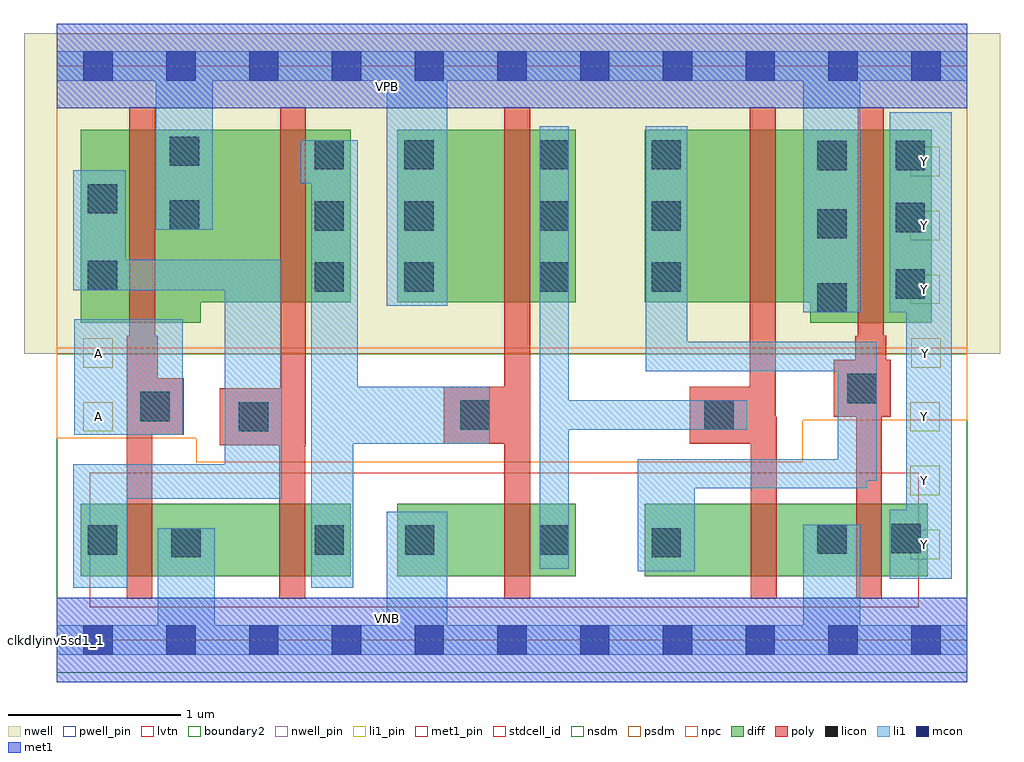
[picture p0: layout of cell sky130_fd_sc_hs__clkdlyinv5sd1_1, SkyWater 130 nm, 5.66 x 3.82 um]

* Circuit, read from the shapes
.subckt sky130_fd_sc_hs__clkdlyinv5sd1_1 A VGND VNB VPB VPWR Y
XM1 VGND A n1 VNB sky130_fd_pr__nfet_01v8_lvt w=0.42 l=0.15
XM2 n2 n1 VGND VNB sky130_fd_pr__nfet_01v8_lvt w=0.42 l=0.15
XM3 n3 n2 VGND VNB sky130_fd_pr__nfet_01v8_lvt w=0.42 l=0.15
XM4 VGND n3 n4 VNB sky130_fd_pr__nfet_01v8_lvt w=0.42 l=0.15
XM5 Y n4 VGND VNB sky130_fd_pr__nfet_01v8_lvt w=0.42 l=0.15
XM6 VPWR A n1 VPB sky130_fd_pr__pfet_01v8 w=1.12 l=0.15
XM7 n2 n1 VPWR VPB sky130_fd_pr__pfet_01v8 w=1 l=0.15
XM8 n3 n2 VPWR VPB sky130_fd_pr__pfet_01v8 w=1 l=0.15
XM9 VPWR n3 n4 VPB sky130_fd_pr__pfet_01v8 w=1 l=0.15
XM10 Y n4 VPWR VPB sky130_fd_pr__pfet_01v8 w=1.12 l=0.15
.ends

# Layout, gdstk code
import gdstk
lib = gdstk.Library(unit=1e-6, precision=1e-09)
def R(c, l, rs):  # rectangles x0, y0, x1, y1
    for r in rs: c.add(gdstk.rectangle(r[:2], r[2:], *l))
def A(c, l, x, y, w, h, nx, ny, dx, dy):  # array of equal rectangles
    R(c, l, [(x+i*dx, y+j*dy, x+i*dx+w, y+j*dy+h) for i in range(nx) for j in range(ny)])
def P(c, l, *ps):  # polygons
    for p in ps: c.add(gdstk.Polygon(p, *l))
nwell_pin = (64, 16)
nwell = (64, 20)
diff = (65, 20)
poly = (66, 20)
licon = (66, 44)
li1_pin = (67, 16)
li1 = (67, 20)
mcon = (67, 44)
met1_pin = (68, 16)
met1 = (68, 20)
stdcell_id = (81, 4)
nsdm = (93, 44)
psdm = (94, 20)
npc = (95, 20)
pwell_pin = (122, 16)
lvtn = (125, 44)
boundary2 = (236, 0)

sky130_fd_sc_hs__clkdlyi = lib.new_cell('sky130_fd_sc_hs__clkdlyinv5sd1_1')
R(sky130_fd_sc_hs__clkdlyi, nwell_pin, [(0,3.085,5.28,3.33)])
R(sky130_fd_sc_hs__clkdlyi, nwell, [(-0.19,1.66,5.47,3.52)])
R(sky130_fd_sc_hs__clkdlyi, diff, [(0.14,0.37,1.705,0.79), (1.975,0.37,3.01,0.79), (3.41,0.37,5.05,0.79), (1.975,1.96,3.01,2.96)])
P(sky130_fd_sc_hs__clkdlyi, diff, [(1.705,2.96),(0.14,2.96),(0.14,1.84),(0.835,1.84),(0.835,1.96),(1.705,1.96)],
  [(5.075,2.96),(3.41,2.96),(3.41,1.96),(4.37,1.96),(4.37,1.84),(5.075,1.84)])
P(sky130_fd_sc_hs__clkdlyi, poly, [(2.745,3.09),(2.595,3.09),(2.595,1.47),(2.245,1.47),(2.245,1.14),(2.595,1.14),(2.595,0.24),(2.745,0.24)],
  [(4.835,1.625),(4.81,1.625),(4.81,1.765),(4.795,1.765),(4.795,3.09),(4.645,3.09),(4.645,1.765),(4.63,1.765),(4.63,1.625),(4.505,1.625),(4.505,1.295),(4.635,1.295),(4.635,0.24),(4.785,0.24),(4.785,1.295),(4.835,1.295)],
  [(4.175,1.295),(4.17,1.295),(4.17,3.09),(4.02,3.09),(4.02,1.47),(3.67,1.47),(3.67,1.14),(4.025,1.14),(4.025,0.24),(4.175,0.24)],
  [(1.445,3.09),(1.295,3.09),(1.295,1.46),(0.945,1.46),(0.945,1.13),(1.29,1.13),(1.29,0.24),(1.44,0.24),(1.44,1.13),(1.445,1.13)],
  [(0.735,1.52),(0.585,1.52),(0.585,1.765),(0.57,1.765),(0.57,3.09),(0.42,3.09),(0.42,1.765),(0.405,1.765),(0.405,0.24),(0.555,0.24),(0.555,1.19),(0.735,1.19)])
A(sky130_fd_sc_hs__clkdlyi, licon, 1.495, 2.02, 0.17, 0.17, 1, 3, 0, 0.355)
A(sky130_fd_sc_hs__clkdlyi, licon, 2.015, 2.02, 0.17, 0.17, 1, 3, 0, 0.355)
A(sky130_fd_sc_hs__clkdlyi, licon, 2.8, 2.02, 0.17, 0.17, 1, 3, 0, 0.355)
A(sky130_fd_sc_hs__clkdlyi, licon, 3.45, 2.02, 0.17, 0.17, 1, 3, 0, 0.355)
R(sky130_fd_sc_hs__clkdlyi, licon, [(0.665,0.48,0.835,0.65), (3.45,0.48,3.62,0.65), (0.18,0.495,0.35,0.665), (1.495,0.495,1.665,0.665), (2.02,0.495,2.19,0.665), (2.8,0.495,2.97,0.665), (4.41,0.5,4.58,0.67), (4.84,0.505,5.01,0.675), (1.055,1.21,1.225,1.38), (2.34,1.22,2.51,1.39), (3.755,1.22,3.925,1.39), (0.485,1.27,0.655,1.44), (4.585,1.375,4.755,1.545), (4.41,1.9,4.58,2.07), (4.865,1.98,5.035,2.15), (0.18,2.03,0.35,2.2), (4.41,2.33,4.58,2.5), (4.865,2.365,5.035,2.535), (0.655,2.38,0.825,2.55), (0.18,2.475,0.35,2.645), (4.41,2.725,4.58,2.895), (4.865,2.725,5.035,2.895), (0.655,2.75,0.825,2.92)])
A(sky130_fd_sc_hs__clkdlyi, li1_pin, 4.95, 0.47, 0.17, 0.17, 1, 3, 0, 0.37)
A(sky130_fd_sc_hs__clkdlyi, li1_pin, 4.95, 1.95, 0.17, 0.17, 1, 3, 0, 0.37)
R(sky130_fd_sc_hs__clkdlyi, li1_pin, [(0.155,1.21,0.325,1.38), (0.155,1.58,0.325,1.75), (4.955,1.58,5.125,1.75)])
R(sky130_fd_sc_hs__clkdlyi, li1, [(0.1,1.19,0.73,1.86)])
P(sky130_fd_sc_hs__clkdlyi, li1, [(1.305,2.205),(0.4,2.205),(0.4,2.725),(0.095,2.725),(0.095,2.03),(0.975,2.03),(0.975,1.02),(0.095,1.02),(0.095,0.305),(0.41,0.305),(0.41,0.82),(1.305,0.82)],
  [(2.51,1.47),(1.745,1.47),(1.745,2.9),(1.415,2.9),(1.415,2.65),(1.475,2.65),(1.475,0.305),(1.72,0.305),(1.72,1.14),(2.51,1.14)],
  [(4.005,1.39),(2.97,1.39),(2.97,2.98),(2.8,2.98),(2.8,0.415),(2.97,0.415),(2.97,1.22),(4.005,1.22)],
  [(4.755,1.73),(3.655,1.73),(3.655,2.98),(3.415,2.98),(3.415,1.56),(4.53,1.56),(4.53,1.05),(3.37,1.05),(3.37,0.4),(3.7,0.4),(3.7,0.88),(4.7,0.88),(4.7,0.925),(4.755,0.925)],
  [(5.28,3.415),(0,3.415),(0,3.245),(0.575,3.245),(0.575,2.38),(0.905,2.38),(0.905,3.245),(1.915,3.245),(1.915,1.94),(2.265,1.94),(2.265,3.245),(4.33,3.245),(4.33,1.9),(4.66,1.9),(4.66,3.245),(5.28,3.245)],
  [(5.28,0.085),(4.66,0.085),(4.66,0.67),(4.33,0.67),(4.33,0.085),(2.265,0.085),(2.265,0.745),(1.915,0.745),(1.915,0.085),(0.915,0.085),(0.915,0.65),(0.585,0.65),(0.585,0.085),(0,0.085),(0,-0.085),(5.28,-0.085)],
  [(5.19,3.06),(4.83,3.06),(4.83,1.9),(4.925,1.9),(4.925,0.755),(4.83,0.755),(4.83,0.355),(5.19,0.355)])
A(sky130_fd_sc_hs__clkdlyi, mcon, 0.155, -0.085, 0.17, 0.17, 11, 2, 0.48, 3.33)
R(sky130_fd_sc_hs__clkdlyi, met1_pin, [(0,0,5.28,0.245), (0,3.085,5.28,3.33)])
R(sky130_fd_sc_hs__clkdlyi, met1, [(0,-0.245,5.28,0.245), (0,3.085,5.28,3.575)])
R(sky130_fd_sc_hs__clkdlyi, stdcell_id, [(0,0,5.28,3.33)])
R(sky130_fd_sc_hs__clkdlyi, nsdm, [(0,-0.19,5.28,1.66)])
R(sky130_fd_sc_hs__clkdlyi, psdm, [(0,1.66,5.28,3.52)])
P(sky130_fd_sc_hs__clkdlyi, npc, [(5.28,1.695),(0,1.695),(0,1.17),(0.81,1.17),(0.81,1.03),(4.325,1.03),(4.325,1.275),(5.28,1.275)])
R(sky130_fd_sc_hs__clkdlyi, pwell_pin, [(0,0,5.28,0.245)])
R(sky130_fd_sc_hs__clkdlyi, lvtn, [(0.19,0.19,5,0.97)])
R(sky130_fd_sc_hs__clkdlyi, boundary2, [(0,0,5.28,3.33)])
sky130_fd_sc_hs__clkdlyi.add(gdstk.Label('clkdlyinv5sd1_1', (0,0), layer=83, texttype=44))
sky130_fd_sc_hs__clkdlyi.add(gdstk.Label('VNB', (1.92,0.123), layer=64, texttype=59))
sky130_fd_sc_hs__clkdlyi.add(gdstk.Label('VPB', (1.92,3.208), layer=64, texttype=5))
sky130_fd_sc_hs__clkdlyi.add(gdstk.Label('VGND', (1.92,0.123), layer=68, texttype=5))
sky130_fd_sc_hs__clkdlyi.add(gdstk.Label('VPWR', (1.92,3.208), layer=68, texttype=5))
sky130_fd_sc_hs__clkdlyi.add(gdstk.Label('A', (0.24,1.295), layer=67, texttype=5))
sky130_fd_sc_hs__clkdlyi.add(gdstk.Label('A', (0.24,1.665), layer=67, texttype=5))
sky130_fd_sc_hs__clkdlyi.add(gdstk.Label('Y', (5.04,1.665), layer=67, texttype=5))
sky130_fd_sc_hs__clkdlyi.add(gdstk.Label('Y', (5.035,2.405), layer=67, texttype=5))
sky130_fd_sc_hs__clkdlyi.add(gdstk.Label('Y', (5.035,2.035), layer=67, texttype=5))
sky130_fd_sc_hs__clkdlyi.add(gdstk.Label('Y', (5.035,0.925), layer=67, texttype=5))
sky130_fd_sc_hs__clkdlyi.add(gdstk.Label('Y', (5.035,0.555), layer=67, texttype=5))
sky130_fd_sc_hs__clkdlyi.add(gdstk.Label('Y', (5.035,1.295), layer=67, texttype=5))
sky130_fd_sc_hs__clkdlyi.add(gdstk.Label('Y', (5.035,2.775), layer=67, texttype=5))

lib.write_gds('sky130_fd_sc_hs__clkdlyinv5sd1_1.gds')
